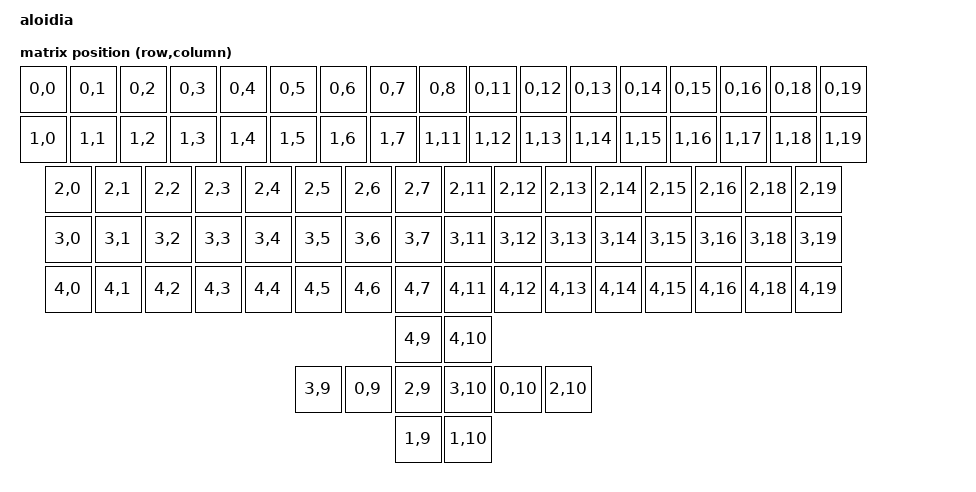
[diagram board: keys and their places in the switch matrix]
/*
 * SPDX-License-Identifier: MIT
 */

/dts-v1/;
#include <nordic/nrf52840_qiaa.dtsi>

#include <dt-bindings/led/led.h>
#include <dt-bindings/zmk/matrix_transform.h>



/ {
    model = "aloidia";
    compatible = "nguyen-v,aloidia";
    chosen {
        zephyr,code-partition = &code_partition;
        zephyr,sram = &sram0;
        zephyr,flash = &flash0;
        zephyr,console = &cdc_acm_uart;
        zmk,kscan = &kscan0;
        zmk,matrix_transform = &default_transform;
    };

    default_transform: keymap_transform_0 {
        compatible = "zmk,matrix-transform";
        columns = <20>;
        rows = <5>;
        map = <
// RC(0,0) RC(0,1)   RC(0,2) RC(0,3) RC(0,4) RC(0,5) RC(0,6) RC(0,7) RC(0,8)      RC(0,9)  RC(0,10)        RC(0,11) RC(0,12) RC(0,13) RC(0,14) RC(0,15) RC(0,16) RC(0,18)       RC(0,19)
// RC(1,0) RC(1,1)      RC(1,2) RC(1,3) RC(1,4) RC(1,5) RC(1,6) RC(1,7)           RC(1,9)  RC(1,10)   RC(1,11) RC(1,12) RC(1,13) RC(1,14) RC(1,15) RC(1,16) RC(1,17) RC(1,18)   RC(1,19)
// RC(2,0) RC(2,1)	        RC(2,2) RC(2,3) RC(2,4) RC(2,5) RC(2,6) RC(2,7)	       RC(2,9)  RC(2,10)      RC(2,11) RC(2,12) RC(2,13) RC(2,14) RC(2,15) RC(2,16) RC(2,18)         RC(2,19) 
// RC(3,0) RC(3,1)	          RC(3,2) RC(3,3) RC(3,4) RC(3,5) RC(3,6) RC(3,7)      RC(3,9)  RC(3,10)        RC(3,11) RC(3,12) RC(3,13) RC(3,14) RC(3,15) RC(3,16)       RC(3,18) RC(3,19)
// RC(4,0) RC(4,1)	    RC(4,2) RC(4,3) RC(4,4) RC(4,5)    RC(4,6)    RC(4,7)      RC(4,9)  RC(4,10)        RC(4,11) RC(4,12) RC(4,13)       RC(4,14) RC(4,15) RC(4,16) RC(4,18) RC(4,19)
RC(0,0) RC(0,1)   RC(0,2) RC(0,3) RC(0,4) RC(0,5) RC(0,6) RC(0,7) RC(0,8)           RC(0,11) RC(0,12) RC(0,13) RC(0,14) RC(0,15) RC(0,16) RC(0,18)       RC(0,19)
RC(1,0) RC(1,1)      RC(1,2) RC(1,3) RC(1,4) RC(1,5) RC(1,6) RC(1,7)           RC(1,11) RC(1,12) RC(1,13) RC(1,14) RC(1,15) RC(1,16) RC(1,17) RC(1,18)   RC(1,19)
RC(2,0) RC(2,1)	        RC(2,2) RC(2,3) RC(2,4) RC(2,5) RC(2,6) RC(2,7)	          RC(2,11) RC(2,12) RC(2,13) RC(2,14) RC(2,15) RC(2,16) RC(2,18)         RC(2,19) 
RC(3,0) RC(3,1)	          RC(3,2) RC(3,3) RC(3,4) RC(3,5) RC(3,6) RC(3,7)           RC(3,11) RC(3,12) RC(3,13) RC(3,14) RC(3,15) RC(3,16)       RC(3,18) RC(3,19)
RC(4,0) RC(4,1)	    RC(4,2) RC(4,3) RC(4,4) RC(4,5)    RC(4,6)    RC(4,7)           RC(4,11) RC(4,12) RC(4,13)       RC(4,14) RC(4,15) RC(4,16) RC(4,18) RC(4,19)
  
                                                                RC(4,9)                    RC(4,10)
                                                        RC(3,9) RC(0,9) RC(2,9)   RC(3,10) RC(0,10) RC(2,10)
                                                                RC(1,9)                    RC(1,10)
        >;
    };

    left_encoder_ec11: encoder_left_ec11 {
        compatible = "alps,ec11";
        label = "LEFT_ENCODER_EC11";
        resolution = <4>;
    };

    left_encoder_evq: encoder_left_evq {
        compatible = "alps,ec11";
        label = "LEFT_ENCODER_EVQ";
        resolution = <4>;
    };

    right_encoder_ec11: encoder_right_ec11 {
        compatible = "alps,ec11";
        label = "RIGHT_ENCODER_EC11";
        resolution = <4>;
    };

    right_encoder_evq: encoder_right_evq {
        compatible = "alps,ec11";
        label = "RIGHT_ENCODER_EVQ";
        resolution = <4>;
    };

    sensors {
        compatible = "zmk,keymap-sensors";
        // sensors = <&left_encoder_ec11 &left_encoder_evq &left_encoder_dummy1 &left_encoder_dummy2>;
        sensors = <&left_encoder_ec11 &left_encoder_evq &right_encoder_ec11 &right_encoder_evq>;
    };

    leds {
        compatible = "gpio-leds";
        blue_led: led_0 {
            gpios = <&gpio1 7 GPIO_ACTIVE_HIGH>;
            label = "Blue LED";
        };
        green_led: led_1 {
            gpios = <&gpio1 5 GPIO_ACTIVE_HIGH>;
            label = "Green LED";
        };
    };
};

&left_encoder_ec11 {
	status = "okay";
};

&left_encoder_evq {
	status = "okay";
};

&right_encoder_ec11 {
	status = "okay";
};

&right_encoder_evq {
	status = "okay";
};


&adc {
    status = "okay";
};

&gpiote {
    status = "okay";
};

&gpio0 {
    status = "okay";
};

&gpio1 {
    status = "okay";
};

&usbd {
    status = "okay";
    cdc_acm_uart: cdc_acm_uart {
        compatible = "zephyr,cdc-acm-uart";
        label = "CDC_ACM_0";
    };
};

&flash0 {
    /*
     * For more information, see:
     * http://docs.zephyrproject.org/latest/devices/dts/flash_partitions.html
     */
    partitions {
        compatible = "fixed-partitions";
        #address-cells = <1>;
        #size-cells = <1>;

        sd_partition: partition@0 {
            label = "softdevice";
            reg = <0x00000000 0x00026000>;
        };
        code_partition: partition@26000 {
            label = "code_partition";
            reg = <0x00026000 0x000c6000>;
        };

        /*
         * The flash starting at 0x000ec000 and ending at
         * 0x000f3fff is reserved for use by the application.
         */

        /*
         * Storage partition will be used by FCB/LittleFS/NVS
         * if enabled.
         */
        storage_partition: partition@ec000 {
            label = "storage";
            reg = <0x000ec000 0x00008000>;
        };

        boot_partition: partition@f4000 {
            label = "adafruit_boot";
            reg = <0x000f4000 0x0000c000>;
        };
    };
};
